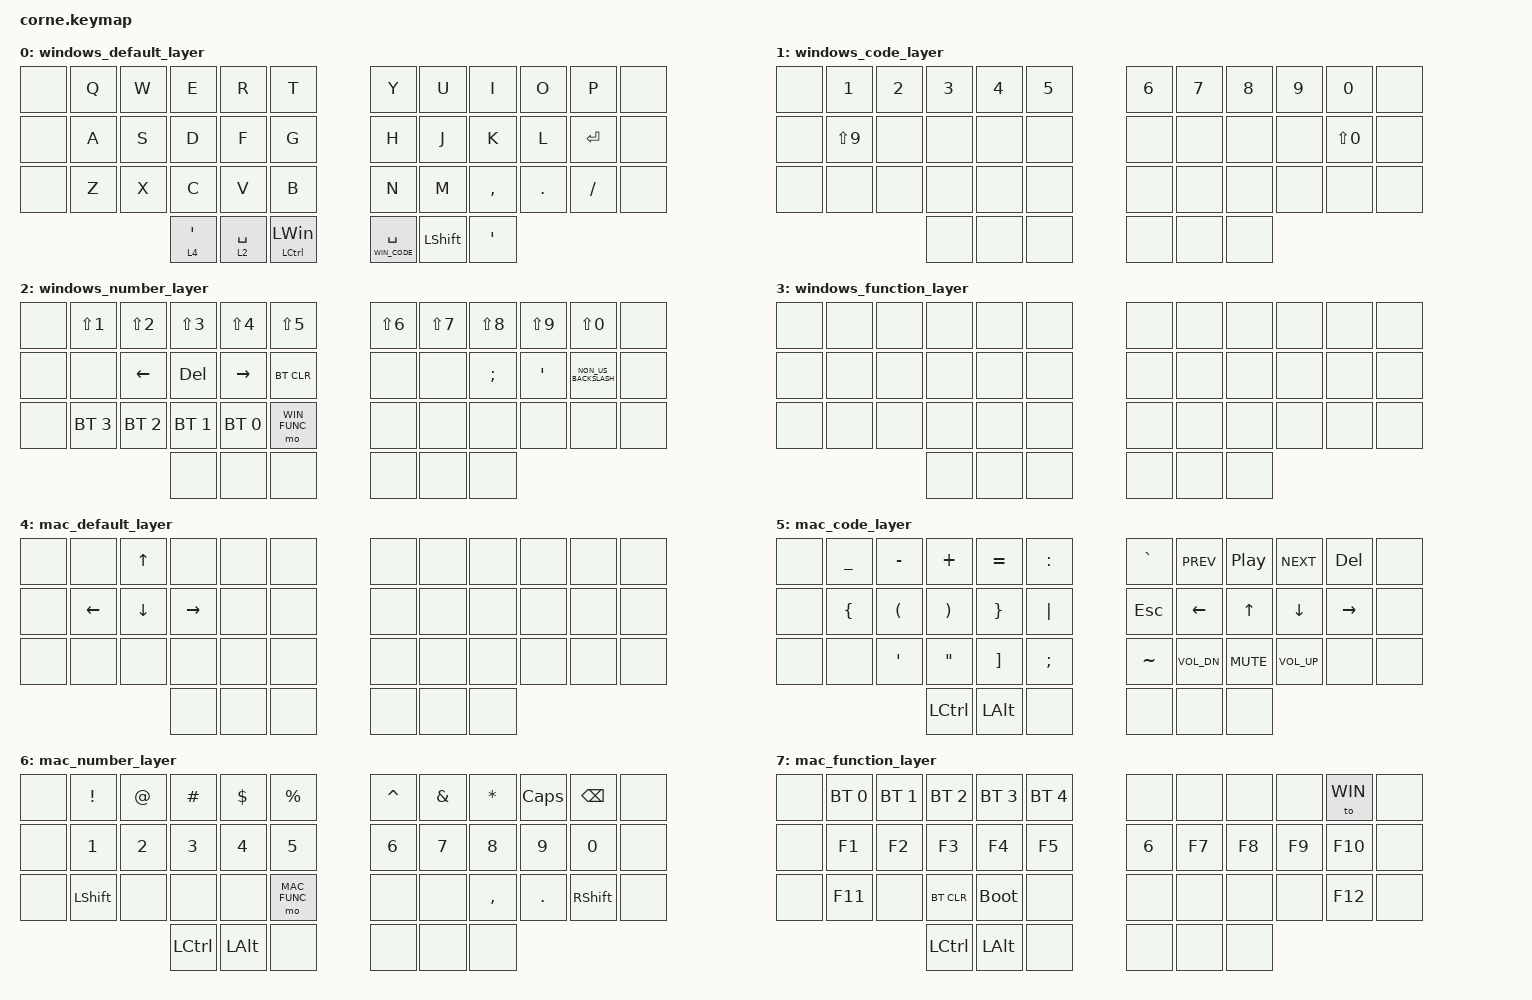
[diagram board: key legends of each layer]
#include <behaviors.dtsi>
#include <dt-bindings/zmk/bt.h>
#include <dt-bindings/zmk/keys.h>

// Layers

#define MAC 4
#define MAC_CODE 5
#define MAC_NUM 6
#define MAC_FUNC 7
#define WIN 0
#define WIN_CODE 1
#define WIN_NUM 2
#define WIN_FUNC 3

// Behavior Overrides

/ {
    //combos {
    //  compatible = "zmk,combos";
    //combo_tab {
    //  timeout-ms = <20>;
    //  key-positions = <1 2>;
    //  bindings = <&kp TAB>;
    //};
    //  combo_enter {
    //    timeout-ms = <20>;
    //  key-positions = <13 14>;
    //bindings = <&kp ENTER>;
    //};
    //};

    macros {
        // Emoji
    };

    combos {
        compatible = "zmk,combos";

        esc {
            bindings = <&kp ESCAPE>;
            key-positions = <1 2>;
        };

        bksp {
            bindings = <&kp BACKSPACE>;
            key-positions = <10 9>;
        };

        caps {
            bindings = <&kp CAPSLOCK>;
            key-positions = <14 13>;
        };

        enter {
            bindings = <&kp ENTER>;
            key-positions = <21 22>;
        };

        btcr {
            bindings = <&bt BT_CLR>;
            key-positions = <5 4>;
        };

        bl {
            bindings = <&bootloader>;
            key-positions = <29 28>;
        };

        key- {
            bindings = <&kp MINUS>;
            key-positions = <19 20>;
        };

        keys+ {
            bindings = <&kp EQUAL>;
            key-positions = <21 20>;
        };
    };

    keymap {
        compatible = "zmk,keymap";

        windows_default_layer {
            bindings = <
&none  &kp Q  &kp W  &kp E      &kp R        &kp T                 &kp Y               &kp U           &kp I      &kp O    &kp P      &none
&none  &kp A  &kp S  &kp D      &kp F        &kp G                 &kp H               &kp J           &kp K      &kp L    &kp ENTER  &none
&none  &kp Z  &kp X  &kp C      &kp V        &kp B                 &kp N               &kp M           &kp COMMA  &kp DOT  &kp FSLH   &none
                     &lt 4 SQT  &lt 2 SPACE  &mt LCTRL LEFT_WIN    &lt WIN_CODE SPACE  &kp LEFT_SHIFT  &kp SQT
            >;
        };

        windows_code_layer {
            bindings = <
&none  &kp N1      &kp N2  &kp N3  &kp N4  &kp N5    &kp N6  &kp N7  &kp N8  &kp N9  &kp N0      &none
&none  &kp LS(N9)  &none   &none   &none   &none     &none   &none   &none   &none   &kp LS(N0)  &none
&none  &none       &none   &none   &none   &none     &none   &none   &none   &none   &none       &none
                           &none   &none   &none     &none   &none   &none
            >;
        };

        windows_number_layer {
            bindings = <
&none  &kp LS(NUMBER_1)  &kp LS(NUMBER_2)  &kp LS(NUMBER_3)  &kp LS(NUMBER_4)  &kp LS(N5)      &kp LS(NUMBER_6)  &kp LS(N7)  &kp LS(N8)     &kp LS(N9)  &kp LS(N0)            &none
&none  &none             &kp LEFT          &kp DEL           &kp RIGHT         &bt BT_CLR      &none             &none       &kp SEMICOLON  &kp SQT     &kp NON_US_BACKSLASH  &none
&none  &bt BT_SEL 3      &bt BT_SEL 2      &bt BT_SEL 1      &bt BT_SEL 0      &mo WIN_FUNC    &none             &none       &none          &none       &none                 &none
                                           &none             &none             &none           &none             &none       &none
            >;
        };

        windows_function_layer {
            bindings = <
&none  &none  &none  &none  &none  &none    &none  &none  &none  &none  &none  &none
&none  &none  &none  &none  &none  &none    &none  &none  &none  &none  &none  &none
&none  &none  &none  &none  &none  &none    &none  &none  &none  &none  &none  &none
                     &none  &none  &none    &none  &none  &none
            >;
        };

        mac_default_layer {
            bindings = <
&none  &none           &kp UP_ARROW  &none      &none  &none    &none  &none  &none  &none  &none  &none
&none  &kp LEFT_ARROW  &kp DOWN      &kp RIGHT  &none  &none    &none  &none  &none  &none  &none  &none
&none  &none           &none         &none      &none  &none    &none  &none  &none  &none  &none  &none
                                     &none      &none  &none    &none  &none  &none
            >;
        };

        mac_code_layer {
            bindings = <
&none  &kp UNDER  &kp MINUS  &kp PLUS   &kp EQUAL  &kp COLON    &kp GRAVE  &kp C_PREV    &kp C_PP    &kp C_NEXT    &kp DEL    &none
&none  &kp LBRC   &kp LPAR   &kp RPAR   &kp RBRC   &kp PIPE     &kp ESC    &kp LEFT      &kp UP      &kp DOWN      &kp RIGHT  &none
&none  &none      &kp APOS   &kp DQT    &kp RBKT   &kp SEMI     &kp TILDE  &kp C_VOL_DN  &kp C_MUTE  &kp C_VOL_UP  &none      &none
                             &kp LCTRL  &kp LALT   &none        &none      &none         &none
            >;
        };

        mac_number_layer {
            bindings = <
&none  &kp EXCL   &kp AT  &kp HASH   &kp DLLR  &kp PRCNT       &kp CARET  &kp AMPS  &kp ASTERISK  &kp CAPS  &kp BSPC   &none
&none  &kp N1     &kp N2  &kp N3     &kp N4    &kp N5          &kp N6     &kp N7    &kp N8        &kp N9    &kp N0     &none
&none  &kp LSHFT  &none   &none      &none     &mo MAC_FUNC    &none      &none     &kp COMMA     &kp DOT   &kp RSHFT  &none
                          &kp LCTRL  &kp LALT  &none           &none      &none     &none
            >;
        };

        mac_function_layer {
            bindings = <
&none  &bt BT_SEL 0  &bt BT_SEL 1  &bt BT_SEL 2  &bt BT_SEL 3  &bt BT_SEL 4    &none  &none   &none   &none   &to WIN  &none
&none  &kp F1        &kp F2        &kp F3        &kp F4        &kp F5          &kp 6  &kp F7  &kp F8  &kp F9  &kp F10  &none
&none  &kp F11       &none         &bt BT_CLR    &bootloader   &none           &none  &none   &none   &none   &kp F12  &none
                                   &kp LCTRL     &kp LALT      &none           &none  &none   &none
            >;
        };
    };
};
